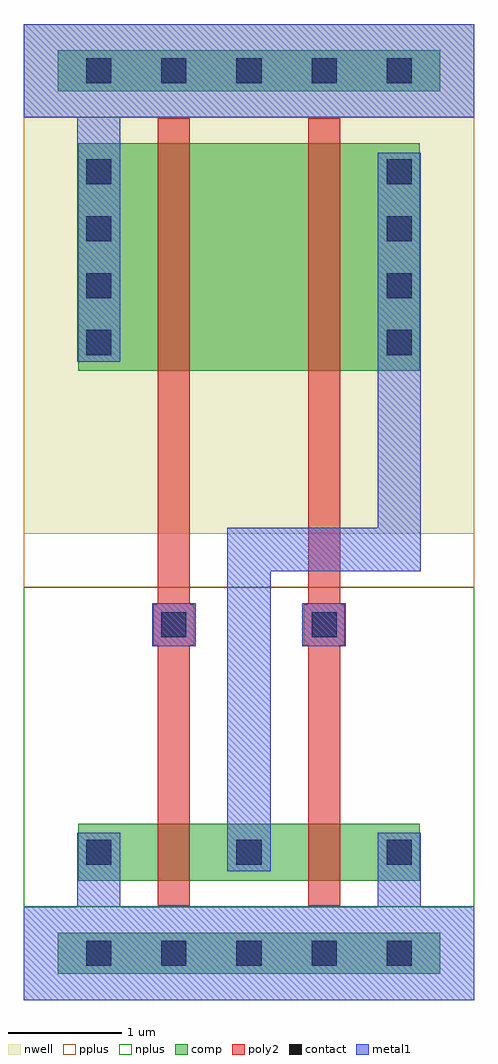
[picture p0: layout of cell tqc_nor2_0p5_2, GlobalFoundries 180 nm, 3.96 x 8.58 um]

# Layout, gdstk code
import gdstk
lib = gdstk.Library(unit=1e-6, precision=1e-09)
def R(c, l, rs):  # rectangles x0, y0, x1, y1
    for r in rs: c.add(gdstk.rectangle(r[:2], r[2:], *l))
def A(c, l, x, y, w, h, nx, ny, dx, dy):  # array of equal rectangles
    R(c, l, [(x+i*dx, y+j*dy, x+i*dx+w, y+j*dy+h) for i in range(nx) for j in range(ny)])
nwell = (21, 0)
comp = (22, 0)
poly2 = (30, 0)
pplus = (31, 0)
nplus = (32, 0)
contact = (33, 0)
metal1 = (34, 0)

tqc_nor2_0p5_2 = lib.new_cell('tqc_nor2_0p5_2')
R(tqc_nor2_0p5_2, nwell, [(0,4.1,3.96,8.58)])
R(tqc_nor2_0p5_2, comp, [(0.3,0.23,3.66,0.59), (0.48,1.05,3.48,1.55), (0.48,5.53,3.48,7.53), (0.3,7.99,3.66,8.35)])
R(tqc_nor2_0p5_2, poly2, [(1.18,0.83,1.46,7.75), (2.5,0.83,2.78,7.75), (1.14,3.12,1.5,3.48), (2.46,3.12,2.82,3.48)])
R(tqc_nor2_0p5_2, pplus, [(0,0,3.96,0.82), (0,3.63,3.96,7.76)])
R(tqc_nor2_0p5_2, nplus, [(0,0.82,3.96,3.63), (0,7.76,3.96,8.58)])
A(tqc_nor2_0p5_2, contact, 0.55, 0.3, 0.22, 0.22, 5, 2, 0.66, 7.76)
A(tqc_nor2_0p5_2, contact, 0.55, 1.19, 0.22, 0.22, 3, 1, 1.32, 0)
A(tqc_nor2_0p5_2, contact, 0.55, 5.67, 0.22, 0.22, 1, 4, 0, 0.5)
A(tqc_nor2_0p5_2, contact, 3.19, 5.67, 0.22, 0.22, 1, 4, 0, 0.5)
R(tqc_nor2_0p5_2, contact, [(1.21,3.19,1.43,3.41), (2.53,3.19,2.75,3.41)])
R(tqc_nor2_0p5_2, metal1, [(0,0,3.96,0.82), (0.47,0,0.85,1.47), (3.11,0,3.49,1.47), (1.79,1.13,2.17,1.47), (1.79,1.37,2.17,4.15), (1.13,3.11,1.51,3.49), (2.45,3.11,2.83,3.49), (1.79,3.77,3.49,4.15), (3.11,3.77,3.49,5.71), (0.47,5.61,0.85,8.58), (3.11,5.61,3.49,7.45), (0,7.76,3.96,8.58)])

lib.write_gds('tqc_nor2_0p5_2.gds')
